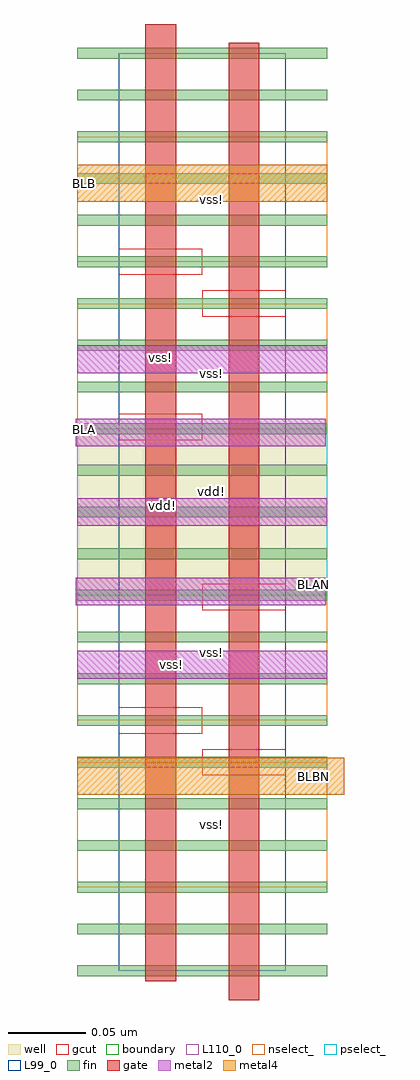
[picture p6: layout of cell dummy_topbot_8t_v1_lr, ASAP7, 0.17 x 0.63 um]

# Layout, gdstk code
import gdstk
lib = gdstk.Library(unit=1e-6, precision=2.5e-10)
def R(c, l, rs):  # rectangles x0, y0, x1, y1
    for r in rs: c.add(gdstk.rectangle(r[:2], r[2:], *l))
def A(c, l, x, y, w, h, nx, ny, dx, dy):  # array of equal rectangles
    R(c, l, [(x+i*dx, y+j*dy, x+i*dx+w, y+j*dy+h) for i in range(nx) for j in range(ny)])
well = (1, 0)
fin = (2, 0)
gate = (7, 0)
gcut = (10, 0)
nselect_ = (12, 0)
pselect_ = (13, 0)
metal2 = (20, 0)
metal4 = (40, 0)
L99_0 = (99, 0)
boundary = (100, 0)
L110_0 = (110, 0)

dummy_topbot_8t_v1_lr = lib.new_cell('dummy_topbot_8t_v1_lr')
R(dummy_topbot_8t_v1_lr, well, [(-0.027,0.081,0.135,0.189)])
A(dummy_topbot_8t_v1_lr, fin, -0.027, -0.1655, 0.162, 0.007, 1, 23, 0, 0.027)
R(dummy_topbot_8t_v1_lr, gate, [(0.071,-0.181,0.091,0.439), (0.017,-0.169,0.037,0.451)])
R(dummy_topbot_8t_v1_lr, gcut, [(0.054,-0.0355,0.108,-0.0185), (0,-0.0085,0.054,0.0085), (0.054,0.0715,0.108,0.0885), (0,0.1815,0.054,0.1985), (0.054,0.2615,0.108,0.2785), (0,0.2885,0.054,0.3055)])
R(dummy_topbot_8t_v1_lr, nselect_, [(-0.027,-0.108,0.135,-0.027), (-0.027,0,0.135,0.081), (-0.027,0.189,0.135,0.27), (-0.027,0.297,0.135,0.378)])
R(dummy_topbot_8t_v1_lr, pselect_, [(-0.027,0.081,0.135,0.189)])
A(dummy_topbot_8t_v1_lr, metal2, -0.027, 0.027, 0.162, 0.018, 1, 3, 0, 0.099)
R(dummy_topbot_8t_v1_lr, metal2, [(-0.028,0.0745,0.134,0.0925), (-0.028,0.1775,0.134,0.1955)])
R(dummy_topbot_8t_v1_lr, metal4, [(-0.027,-0.048,0.146,-0.024), (-0.027,0.336,0.135,0.36)])
R(dummy_topbot_8t_v1_lr, L99_0, [(0,-0.162,0.108,0.432)])
R(dummy_topbot_8t_v1_lr, boundary, [(0,-0.162,0.108,0.432)])
R(dummy_topbot_8t_v1_lr, L110_0, [(0,-0.162,0.108,0.432)])
dummy_topbot_8t_v1_lr.add(gdstk.Label('vss!', (0.027,0.235), layer=20, texttype=251))
dummy_topbot_8t_v1_lr.add(gdstk.Label('vss!', (0.034,0.036), layer=20, texttype=251))
dummy_topbot_8t_v1_lr.add(gdstk.Label('vdd!', (0.0285,0.1395), layer=20, texttype=251))
dummy_topbot_8t_v1_lr.add(gdstk.Label('BLA', (-0.022,0.1885), layer=20, texttype=251))
dummy_topbot_8t_v1_lr.add(gdstk.Label('BLAN', (0.126,0.088), layer=20, texttype=251))
dummy_topbot_8t_v1_lr.add(gdstk.Label('vdd!', (0.06,0.148), layer=1, texttype=251))
dummy_topbot_8t_v1_lr.add(gdstk.Label('vss!', (0.06,0.2245), layer=3, texttype=251))
dummy_topbot_8t_v1_lr.add(gdstk.Label('vss!', (0.06,0.044), layer=3, texttype=251))
dummy_topbot_8t_v1_lr.add(gdstk.Label('BLBN', (0.126,-0.036), layer=40, texttype=251))
dummy_topbot_8t_v1_lr.add(gdstk.Label('BLB', (-0.022,0.348), layer=40, texttype=251))
dummy_topbot_8t_v1_lr.add(gdstk.Label('vss!', (0.06,-0.0675), layer=3, texttype=251))
dummy_topbot_8t_v1_lr.add(gdstk.Label('vss!', (0.06,0.3375), layer=3, texttype=251))

lib.write_gds('dummy_topbot_8t_v1_lr.gds')
